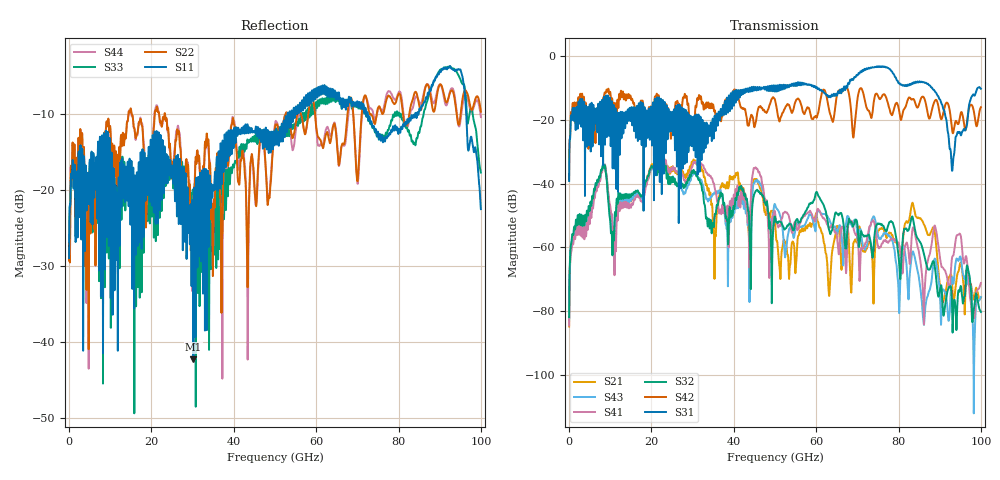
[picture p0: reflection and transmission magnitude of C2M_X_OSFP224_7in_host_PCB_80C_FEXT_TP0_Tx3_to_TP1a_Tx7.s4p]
# GHz S RI R 45
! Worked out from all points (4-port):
!   4000 points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, 25 MHz to 100 GHz, reference 45 ohm
!   strongest paths, dB at 25 MHz, 25.02 GHz, 50.02 GHz, 75.03 GHz, 100 GHz:
!     S31: -39.1, -17.4, -10.9, -3.3, -10.1
!     S42: -38.6, -22.1, -13.7, -12.5, -15.9
!     S32: -81.9, -39.3, -50.4, -52.4, -80.3
!     S41: -84.5, -35.7, -49.0, -59.4, -71.2
!     S43: -82.9, -38.7, -46.5, -56.1, -75.6
!     S21: -84.8, -36.0, -52.0, -54.8, -75.7
!   lowest |S11| = -42.3 dB at 30.2 GHz (marker M1), VSWR 1.02, Z = 44.4 + j0.388 ohm
!   |S11| at or under -10 dB: start of sweep to 53.06 GHz; 72.53 GHz to 84.04 GHz (11.52 GHz wide, 14.7 % of centre); 96.44 GHz to end of sweep (the widest 3 of 11)
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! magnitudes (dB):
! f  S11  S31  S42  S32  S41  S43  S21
! 25 MHz  -29.0  -39.1  -38.6  -81.9  -84.5  -82.9  -84.8
! 8.3 GHz  -20.9  -24.5  -13.0  -34.1  -34.5  -34.3  -34.3
! 11.03 GHz  -25.8  -27.1  -15.9  -52.7  -67.2  -63.8  -59.1
! 30.2 GHz  -42.3  -22.9  -20.8  -35.7  -33.3  -36.4  -32.4
! 76.22 GHz  -13.7  -3.1  -12.0  -53.2  -58.4  -56.2  -54.2
! 93.12 GHz  -4.1  -35.1  -23.9  -86.8  -62.7  -69.8  -74.3
! 100 GHz  -22.5  -10.1  -15.9  -80.3  -71.2  -75.6  -75.7
